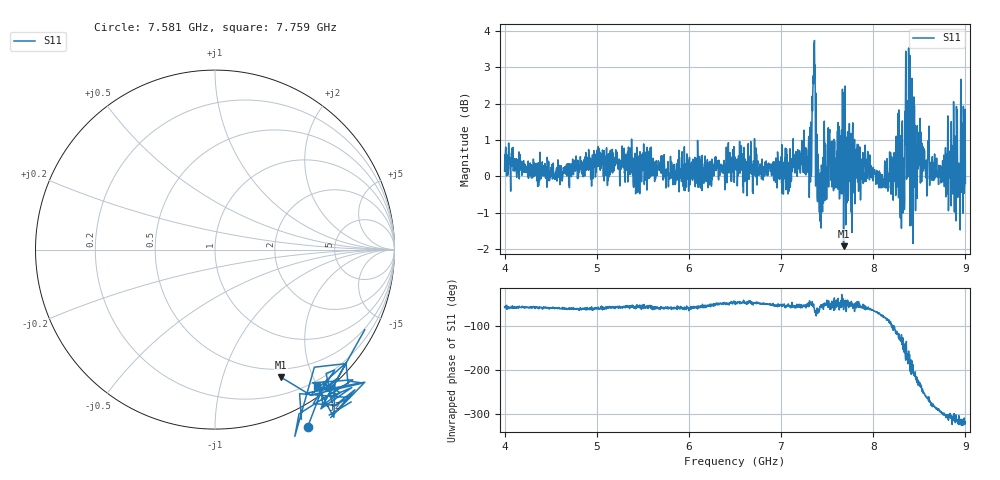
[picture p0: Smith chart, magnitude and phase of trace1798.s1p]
! Created with skrf 1.8.0 (http://scikit-rf.org).
# Hz S RI R 50.0
!freq ReS11 ImS11
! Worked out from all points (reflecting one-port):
!   1601 points, 4 GHz to 9 GHz, reference 50 ohm
!   lowest |S11| = -1.9 dB at 7.678 GHz (marker M1), VSWR 9.10, Z = 19.7 - j78.7 ohm
!   phase of S11 starts at -56 deg and turns -263 deg over the sweep
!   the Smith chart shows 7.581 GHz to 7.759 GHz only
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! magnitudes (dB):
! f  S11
! 4 GHz  0.1
! 4.625 GHz  -0.1
! 5.25 GHz  -0.3
! 5.875 GHz  -0.1
! 6.5 GHz  0.5
! 7.125 GHz  0.2
! 7.306 GHz  -0.6
! 7.347 GHz  2.5
! 7.362 GHz  3.7
! 7.397 GHz  -0.7
! 7.416 GHz  -1.0
! 7.522 GHz  1.2
! 7.575 GHz  0.8
! 7.678 GHz  -1.9
! 7.75 GHz  -0.1
! 7.8 GHz  -0.8
! 8.094 GHz  -0.3
! 8.294 GHz  -1.1
! 8.316 GHz  1.5
! 8.334 GHz  0.5
! 8.375 GHz  0.0
! 8.447 GHz  1.9
! 8.503 GHz  0.6
! 8.794 GHz  0.6
! 8.888 GHz  1.1
! 8.919 GHz  -0.5
! 8.972 GHz  0.7
! 9 GHz  -0.2
